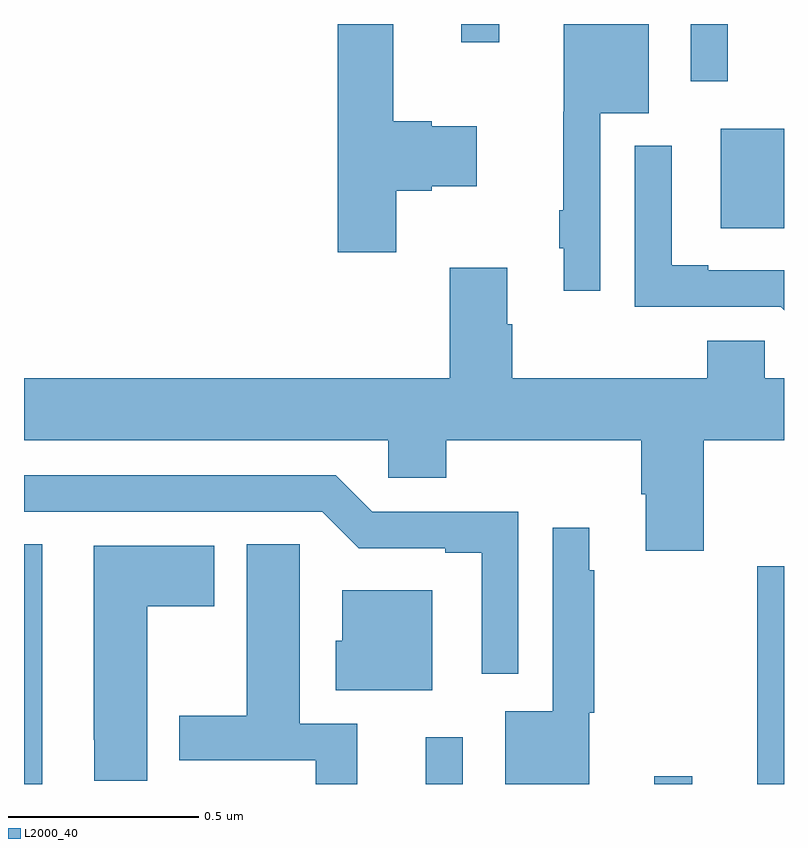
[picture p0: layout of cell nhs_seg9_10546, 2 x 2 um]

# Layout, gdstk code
import gdstk
lib = gdstk.Library(unit=1e-6, precision=1e-09)
def R(c, l, rs):  # rectangles x0, y0, x1, y1
    for r in rs: c.add(gdstk.rectangle(r[:2], r[2:], *l))
def P(c, l, *ps):  # polygons
    for p in ps: c.add(gdstk.Polygon(p, *l))
L2000_40 = (2000, 40)

nhs_seg9_10546 = lib.new_cell('nhs_seg9_10546')
R(nhs_seg9_10546, L2000_40, [(244,1211.5,244.048,1212.131), (245.057,1211.5,245.154,1211.623), (245.659,1211.5,245.758,1211.521), (245.834,1212.962,246,1213.225), (245.754,1213.35,245.852,1213.5), (245.15,1213.452,245.25,1213.5)])
P(nhs_seg9_10546, L2000_40, [(244.98,1213.061),(245.073,1213.061),(245.073,1213.073),(245.191,1213.073),(245.191,1213.231),(245.073,1213.231),(245.073,1213.244),(244.972,1213.244),(244.972,1213.5),(244.826,1213.5),(244.826,1212.9),(244.98,1212.9)],
  [(245.517,1213.265),(245.644,1213.265),(245.644,1213.5),(245.42,1213.5),(245.42,1213.269),(245.419,1213.269),(245.419,1213.01),(245.409,1213.01),(245.409,1212.91),(245.42,1212.91),(245.42,1212.798),(245.517,1212.798)],
  [(246,1212.852),(245.8,1212.852),(245.8,1212.865),(245.704,1212.865),(245.704,1213.18),(245.607,1213.18),(245.607,1212.756),(245.991,1212.756),(246,1212.747)],
  [(245.789,1212.404),(246,1212.404),(246,1212.568),(245.949,1212.568),(245.949,1212.666),(245.798,1212.666),(245.798,1212.568),(245.285,1212.568),(245.285,1212.71),(245.272,1212.71),(245.272,1212.859),(245.12,1212.859),(245.12,1212.568),(244,1212.568),(244,1212.404),(244.959,1212.404),(244.959,1212.306),(245.111,1212.306),(245.111,1212.404),(245.624,1212.404),(245.624,1212.262),(245.636,1212.262),(245.636,1212.114),(245.789,1212.114)],
  [(245.301,1212.216),(244.917,1212.216),(244.821,1212.312),(244,1212.312),(244,1212.216),(244.785,1212.216),(244.881,1212.12),(245.108,1212.12),(245.108,1212.108),(245.204,1212.108),(245.204,1211.79),(245.301,1211.79)],
  [(245.488,1211.688),(245.5,1211.688),(245.5,1212.062),(245.488,1212.062),(245.488,1212.175),(245.391,1212.175),(245.391,1211.692),(245.267,1211.692),(245.267,1211.5),(245.488,1211.5)],
  [(244.877,1211.658),(244.726,1211.658),(244.726,1212.02),(244.725,1212.02),(244.725,1212.131),(244.586,1212.131),(244.586,1211.679),(244.409,1211.679),(244.409,1211.562),(244.768,1211.562),(244.768,1211.5),(244.877,1211.5)],
  [(244.324,1211.968),(244.501,1211.968),(244.501,1212.127),(244.184,1212.127),(244.184,1211.617),(244.185,1211.617),(244.185,1211.509),(244.324,1211.509)],
  [(246,1212.073),(245.929,1212.073),(245.929,1211.766),(245.93,1211.766),(245.93,1211.5),(246,1211.5)],
  [(245.074,1212.01),(244.838,1212.01),(244.838,1211.877),(244.82,1211.877),(244.82,1211.747),(245.074,1211.747)])

lib.write_gds('nhs_seg9_10546.gds')
